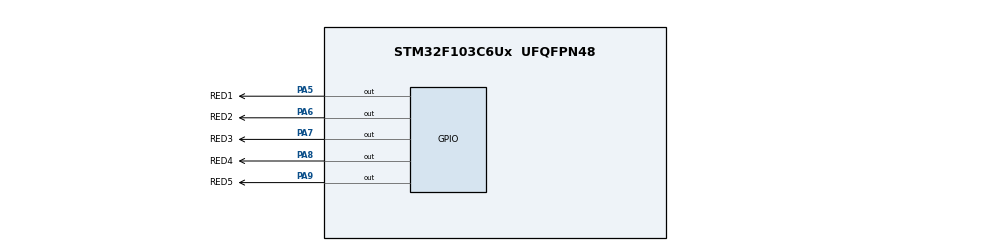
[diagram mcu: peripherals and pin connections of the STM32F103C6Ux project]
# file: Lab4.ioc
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Mcu.Family=STM32F1
Mcu.Name=STM32F103C6Ux
Mcu.Package=UFQFPN48
NVIC.PriorityGroup=NVIC_PRIORITYGROUP_4
NVIC.TIM2_IRQn=true\:0\:0\:false\:false\:true\:true\:true
PA13.Mode=Serial_Wire
PA13.Signal=SYS_JTMS-SWDIO
PA14.Mode=Serial_Wire
PA14.Signal=SYS_JTCK-SWCLK
PA5.GPIO_Label=RED1
PA5.Signal=GPIO_Output
PA6.GPIO_Label=RED2
PA6.Signal=GPIO_Output
PA7.GPIO_Label=RED3
PA7.Signal=GPIO_Output
PA8.GPIO_Label=RED4
PA8.Signal=GPIO_Output
PA9.GPIO_Label=RED5
PA9.Signal=GPIO_Output
ProjectManager.HeapSize=0x200
ProjectManager.StackSize=0x400
ProjectManager.TargetToolchain=STM32CubeIDE
RCC.APB1Freq_Value=8000000
RCC.APB2Freq_Value=8000000
TIM2.Period=9
TIM2.Prescaler=7999
VP_TIM2_VS_ClockSourceINT.Mode=Internal
board=custom

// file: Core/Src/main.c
/* USER CODE BEGIN Header */
/**
  ******************************************************************************
  * @file           : main.c
  * @brief          : Main program body
  ******************************************************************************
  * @attention
  *
  * <h2><center>&copy; Copyright (c) 2022 STMicroelectronics.
  * All rights reserved.</center></h2>
  *
  * This software component is licensed by ST under BSD 3-Clause license,
  * the "License"; You may not use this file except in compliance with the
  * License. You may obtain a copy of the License at:
  *                        opensource.org/licenses/BSD-3-Clause
  *
  ******************************************************************************
  */
/* USER CODE END Header */
#include "main.h"

/* USER CODE BEGIN Includes */
#include "scheduler.h"
/* USER CODE END Includes */

TIM_HandleTypeDef htim2;

void SystemClock_Config(void);
static void MX_GPIO_Init(void);
static void MX_TIM2_Init(void);

/* USER CODE BEGIN 0 */
void RED1_ON(){
	HAL_GPIO_TogglePin(RED1_GPIO_Port, RED1_Pin);
}
void RED2_ON(){
	HAL_GPIO_TogglePin(RED2_GPIO_Port, RED2_Pin);
}
void RED3_ON(){
	HAL_GPIO_TogglePin(RED3_GPIO_Port, RED3_Pin);
}
void RED4_ON(){
	HAL_GPIO_TogglePin(RED4_GPIO_Port, RED4_Pin);
}
void RED5_ON(){
	HAL_GPIO_TogglePin(RED5_GPIO_Port, RED5_Pin);
}
/* USER CODE END 0 */

int main(void)
{

  /* MCU Configuration--------------------------------------------------------*/

  /* Reset of all peripherals, Initializes the Flash interface and the Systick. */
  HAL_Init();

  /* Configure the system clock */
  SystemClock_Config();

  /* Initialize all configured peripherals */
  MX_GPIO_Init();
  MX_TIM2_Init();
  /* USER CODE BEGIN 2 */
  HAL_TIM_Base_Start_IT(&htim2);

  SCH_Add_Task(RED1_ON, 0, 100);
  SCH_Add_Task(RED2_ON, 50, 100);
  SCH_Add_Task(RED3_ON, 100, 100);
  SCH_Add_Task(RED4_ON, 150, 100);
  SCH_Add_Task(RED5_ON, 200, 100);
  /* USER CODE END 2 */

  /* Infinite loop */
  /* USER CODE BEGIN WHILE */
  while (1)
  {
	  SCH_Dispatch_Tasks();
    /* USER CODE END WHILE */

  }
}

void SystemClock_Config(void)
{
  RCC_OscInitTypeDef RCC_OscInitStruct = {0};
  RCC_ClkInitTypeDef RCC_ClkInitStruct = {0};

  /** Initializes the RCC Oscillators according to the specified parameters
  * in the RCC_OscInitTypeDef structure.
  */
  RCC_OscInitStruct.OscillatorType = RCC_OSCILLATORTYPE_HSI;
  RCC_OscInitStruct.HSIState = RCC_HSI_ON;
  RCC_OscInitStruct.HSICalibrationValue = RCC_HSICALIBRATION_DEFAULT;
  RCC_OscInitStruct.PLL.PLLState = RCC_PLL_NONE;
  if (HAL_RCC_OscConfig(&RCC_OscInitStruct) != HAL_OK)
  {
    Error_Handler();
  }
  /** Initializes the CPU, AHB and APB buses clocks
  */
  RCC_ClkInitStruct.ClockType = RCC_CLOCKTYPE_HCLK|RCC_CLOCKTYPE_SYSCLK
                              |RCC_CLOCKTYPE_PCLK1|RCC_CLOCKTYPE_PCLK2;
  RCC_ClkInitStruct.SYSCLKSource = RCC_SYSCLKSOURCE_HSI;
  RCC_ClkInitStruct.AHBCLKDivider = RCC_SYSCLK_DIV1;
  RCC_ClkInitStruct.APB1CLKDivider = RCC_HCLK_DIV1;
  RCC_ClkInitStruct.APB2CLKDivider = RCC_HCLK_DIV1;

  if (HAL_RCC_ClockConfig(&RCC_ClkInitStruct, FLASH_LATENCY_0) != HAL_OK)
  {
    Error_Handler();
  }
}

static void MX_TIM2_Init(void)
{

  TIM_ClockConfigTypeDef sClockSourceConfig = {0};
  TIM_MasterConfigTypeDef sMasterConfig = {0};

  htim2.Instance = TIM2;
  htim2.Init.Prescaler = 7999;
  htim2.Init.CounterMode = TIM_COUNTERMODE_UP;
  htim2.Init.Period = 9;
  htim2.Init.ClockDivision = TIM_CLOCKDIVISION_DIV1;
  htim2.Init.AutoReloadPreload = TIM_AUTORELOAD_PRELOAD_DISABLE;
  if (HAL_TIM_Base_Init(&htim2) != HAL_OK)
  {
    Error_Handler();
  }
  sClockSourceConfig.ClockSource = TIM_CLOCKSOURCE_INTERNAL;
  if (HAL_TIM_ConfigClockSource(&htim2, &sClockSourceConfig) != HAL_OK)
  {
    Error_Handler();
  }
  sMasterConfig.MasterOutputTrigger = TIM_TRGO_RESET;
  sMasterConfig.MasterSlaveMode = TIM_MASTERSLAVEMODE_DISABLE;
  if (HAL_TIMEx_MasterConfigSynchronization(&htim2, &sMasterConfig) != HAL_OK)
  {
    Error_Handler();
  }

}

static void MX_GPIO_Init(void)
{
  GPIO_InitTypeDef GPIO_InitStruct = {0};

  /* GPIO Ports Clock Enable */
  __HAL_RCC_GPIOA_CLK_ENABLE();

  /*Configure GPIO pin Output Level */
  HAL_GPIO_WritePin(GPIOA, RED1_Pin|RED2_Pin|RED3_Pin|RED4_Pin
                          |RED5_Pin, GPIO_PIN_RESET);

  /*Configure GPIO pins : RED1_Pin RED2_Pin RED3_Pin RED4_Pin
                           RED5_Pin */
  GPIO_InitStruct.Pin = RED1_Pin|RED2_Pin|RED3_Pin|RED4_Pin
                          |RED5_Pin;
  GPIO_InitStruct.Mode = GPIO_MODE_OUTPUT_PP;
  GPIO_InitStruct.Pull = GPIO_NOPULL;
  GPIO_InitStruct.Speed = GPIO_SPEED_FREQ_LOW;
  HAL_GPIO_Init(GPIOA, &GPIO_InitStruct);

}

/* USER CODE BEGIN 4 */
void HAL_TIM_PeriodElapsedCallback ( TIM_HandleTypeDef * htim ){
	SCH_Update();
}

/* USER CODE END 4 */

void Error_Handler(void)
{
  __disable_irq();
  while (1)
  {
  }
}

/************************ (C) COPYRIGHT STMicroelectronics *****END OF FILE****/
